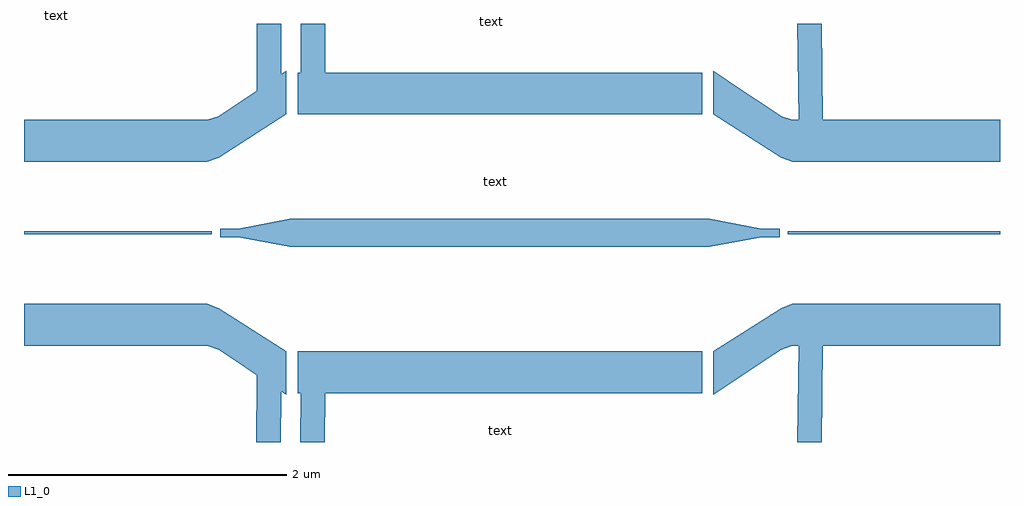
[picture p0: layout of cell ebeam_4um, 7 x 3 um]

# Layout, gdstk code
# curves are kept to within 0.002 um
import gdstk
lib = gdstk.Library(unit=1e-6, precision=1e-09)
def R(c, l, rs):  # rectangles x0, y0, x1, y1
    for r in rs: c.add(gdstk.rectangle(r[:2], r[2:], *l))
def P(c, l, *ps):  # polygons
    for p in ps: c.add(gdstk.Polygon(p, *l))
L1_0 = (1, 0)

ebeam_4um = lib.new_cell('ebeam_4um')
R(ebeam_4um, L1_0, [(-3.5,-0.009,-2.154,0.011), (1.979,-0.009,3.5,0.011)])
P(ebeam_4um, L1_0, [(-1.517,-1.5),(-1.514,-1.149),(-1.538,-1.149),(-1.538,-0.849),(1.364,-0.849),(1.364,-1.149),(-1.339,-1.149),(-1.342,-1.5)],
  [(-1.834,-1.5),(-1.83,-1.019),(-2.104,-0.837),(-2.184,-0.809),(-3.5,-0.809),(-3.5,-0.509),(-2.184,-0.509),(-2.104,-0.538),(-1.618,-0.849),(-1.618,-1.161),(-1.655,-1.136),(-1.658,-1.5)],
  [(2.047,-1.5),(2.055,-0.809),(2.01,-0.809),(1.93,-0.837),(1.444,-1.161),(1.444,-0.849),(1.93,-0.538),(2.01,-0.509),(3.5,-0.509),(3.5,-0.809),(2.23,-0.809),(2.222,-1.5)],
  [(-1.594,-0.099),(-1.965,-0.029),(-2.094,-0.029),(-2.094,0.031),(-1.965,0.031),(-1.594,0.101),(1.419,0.101),(1.79,0.031),(1.919,0.031),(1.919,-0.029),(1.79,-0.029),(1.419,-0.099)],
  [(-3.5,0.511),(-3.5,0.811),(-2.184,0.811),(-2.104,0.839),(-1.831,1.021),(-1.831,1.5),(-1.655,1.5),(-1.655,1.139),(-1.618,1.163),(-1.618,0.851),(-2.104,0.54),(-2.184,0.511)],
  [(-1.538,0.851),(-1.538,1.151),(-1.515,1.151),(-1.515,1.5),(-1.339,1.5),(-1.339,1.151),(1.364,1.151),(1.364,0.851)],
  [(2.01,0.511),(1.93,0.54),(1.444,0.851),(1.444,1.163),(1.93,0.839),(2.01,0.811),(2.055,0.811),(2.047,1.5),(2.222,1.5),(2.23,0.811),(3.5,0.811),(3.5,0.511)])
ebeam_4um.add(gdstk.Label('text', (-3.27,1.56), layer=1, texttype=0))
ebeam_4um.add(gdstk.Label('text', (-0.15,1.52), layer=1, texttype=0))
ebeam_4um.add(gdstk.Label('text', (-0.12,0.37), layer=1, texttype=0))
ebeam_4um.add(gdstk.Label('text', (-0.08,-1.42), layer=1, texttype=0))

lib.write_gds('ebeam_4um.gds')
